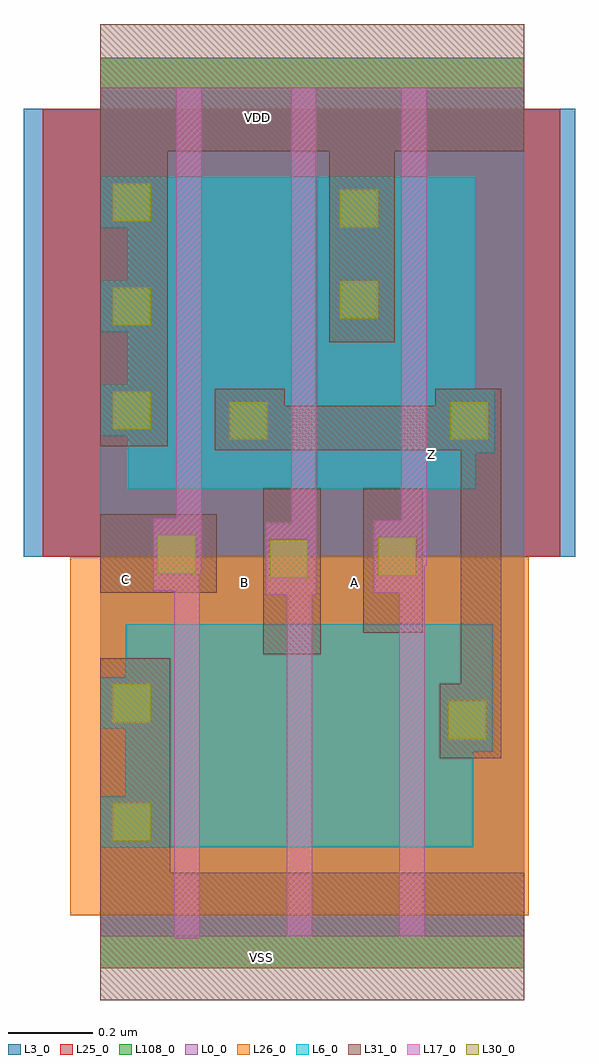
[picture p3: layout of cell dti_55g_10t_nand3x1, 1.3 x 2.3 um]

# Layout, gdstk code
from math import pi, radians
import gdstk
lib = gdstk.Library(unit=1e-6, precision=1e-09)
def R(c, l, rs):  # rectangles x0, y0, x1, y1
    for r in rs: c.add(gdstk.rectangle(r[:2], r[2:], *l))
L0_0 = (0, 0)
L3_0 = (3, 0)
L6_0 = (6, 0)
L17_0 = (17, 0)
L25_0 = (25, 0)
L26_0 = (26, 0)
L30_0 = (30, 0)
L31_0 = (31, 0)
L108_0 = (108, 0)
L923_0 = (923, 0)

template_55g_10t = lib.new_cell('template_55g_10t')
R(template_55g_10t, L31_0, [(0,-0.15,0.2,0.15), (0,1.85,0.2,2.15)])
template_55g_10t.add(gdstk.FlexPath([(0.2,0.21),(0,0.21)], 0, ends="flush", simple_path=True, layer=923, datatype=0))  # L923_0
template_55g_10t.add(gdstk.FlexPath([(0.2,0.735),(0,0.735)], 0, ends="flush", simple_path=True, layer=923, datatype=0))  # L923_0
template_55g_10t.add(gdstk.FlexPath([(0.2,0.895),(0,0.895)], 0, ends="flush", simple_path=True, layer=923, datatype=0))  # L923_0
template_55g_10t.add(gdstk.FlexPath([(0.2,1.055),(0,1.055)], 0, ends="flush", simple_path=True, layer=923, datatype=0))  # L923_0
template_55g_10t.add(gdstk.FlexPath([(0.2,1.79),(0,1.79)], 0, ends="flush", simple_path=True, layer=923, datatype=0))  # L923_0

cellgrid_nom2 = lib.new_cell('cellgrid_noM2')
R(cellgrid_nom2, L0_0, [(0,0,0.2,0.2)])
cellgrid_nom2.add(gdstk.FlexPath([(0.2,0),(0,0.2)], 0, ends="flush", simple_path=True, layer=0, datatype=0))  # L0_0
cellgrid_nom2.add(gdstk.FlexPath([(0.2,0.2),(0,0)], 0, ends="flush", simple_path=True, layer=0, datatype=0))  # L0_0

pmos_735_n_2 = lib.new_cell('pmos_735_n_2')
R(pmos_735_n_2, L3_0, [(-0.275,-0.16,0.335,0.895)])
R(pmos_735_n_2, L6_0, [(-0.115,0,0.175,0.735)])
R(pmos_735_n_2, L17_0, [(0,-0.14,0.06,0.875)])
R(pmos_735_n_2, L25_0, [(-0.245,-0.16,0.305,0.895)])

nmos_525_n_2 = lib.new_cell('nmos_525_n_2')
R(nmos_525_n_2, L6_0, [(-0.115,0,0.175,0.525)])
R(nmos_525_n_2, L17_0, [(0,-0.14,0.06,0.665)])
R(nmos_525_n_2, L26_0, [(-0.245,-0.16,0.305,0.685)])

cnt_n = lib.new_cell('cnt_n')
R(cnt_n, L6_0, [(-0.06,-0.075,0.06,0.075)])
R(cnt_n, L30_0, [(-0.045,-0.045,0.045,0.045)])
R(cnt_n, L31_0, [(-0.045,-0.045,0.045,0.045)])

cnt = lib.new_cell('cnt')
R(cnt, L30_0, [(-0.045,-0.045,0.045,0.045)])
R(cnt, L31_0, [(-0.045,-0.045,0.045,0.045)])

pcnt_v = lib.new_cell('pcnt_v')
R(pcnt_v, L17_0, [(-0.055,-0.085,0.055,0.085)])
pcnt_v.add(gdstk.Reference(cnt, (0,0)))

dti_55g_10t_nand3x1 = lib.new_cell('dti_55g_10t_nand3x1')
R(dti_55g_10t_nand3x1, L3_0, [(-0.18,0.895,1.12,1.95)])
R(dti_55g_10t_nand3x1, L6_0, [(0.88,0.435,0.925,0.735)])
R(dti_55g_10t_nand3x1, L17_0, [(0.175,-0.005,0.235,0.07), (0.44,0,0.5,0.07), (0.705,0,0.765,0.07), (0.425,0.805,0.51,0.915), (0.135,0.855,0.24,0.915), (0.705,0.875,0.77,0.915), (0.18,1.93,0.24,2), (0.45,1.93,0.51,2), (0.71,1.93,0.77,2)])
R(dti_55g_10t_nand3x1, L25_0, [(-0.135,0.895,1.085,1.95)])
R(dti_55g_10t_nand3x1, L31_0, [(0,0.15,0.165,0.655), (0.8,0.42,0.945,0.595), (0.85,0.595,0.945,1.145), (0.385,0.665,0.52,1.055), (0.62,0.715,0.76,1.055), (0,0.81,0.275,0.995), (0.27,1.145,0.435,1.29), (0.435,1.145,0.79,1.25), (0.79,1.145,0.945,1.29), (0,1.155,0.16,1.85), (0.54,1.4,0.695,1.85)])
R(dti_55g_10t_nand3x1, L108_0, [(0,-0.075,1,2.07)])
r = gdstk.Reference(template_55g_10t, (0,0)); r.repetition = gdstk.Repetition(5, 1, v1=(0.2,0), v2=(0,0)); dti_55g_10t_nand3x1.add(r)
r = gdstk.Reference(cellgrid_nom2, (0,0)); r.repetition = gdstk.Repetition(5, 10, v1=(0.2,0), v2=(0,0.2)); dti_55g_10t_nand3x1.add(r)
dti_55g_10t_nand3x1.add(gdstk.Reference(pmos_735_n_2, (0.18,1.055)))
dti_55g_10t_nand3x1.add(gdstk.Reference(pmos_735_n_2, (0.45,1.055)))
dti_55g_10t_nand3x1.add(gdstk.Reference(pmos_735_n_2, (0.71,1.055)))
dti_55g_10t_nand3x1.add(gdstk.Reference(nmos_525_n_2, (0.175,0.21)))
dti_55g_10t_nand3x1.add(gdstk.Reference(nmos_525_n_2, (0.44,0.21)))
dti_55g_10t_nand3x1.add(gdstk.Reference(nmos_525_n_2, (0.705,0.21)))
dti_55g_10t_nand3x1.add(gdstk.Reference(cnt_n, (0.075,1.73), rotation=pi/2))
dti_55g_10t_nand3x1.add(gdstk.Reference(cnt_n, (0.075,1.485), rotation=pi/2))
dti_55g_10t_nand3x1.add(gdstk.Reference(cnt_n, (0.075,1.24), rotation=pi/2))
dti_55g_10t_nand3x1.add(gdstk.Reference(cnt_n, (0.075,0.27), rotation=pi/2))
dti_55g_10t_nand3x1.add(gdstk.Reference(cnt_n, (0.075,0.55), rotation=pi/2))
dti_55g_10t_nand3x1.add(gdstk.Reference(cnt_n, (0.61,1.715)))
dti_55g_10t_nand3x1.add(gdstk.Reference(cnt_n, (0.61,1.5)))
dti_55g_10t_nand3x1.add(gdstk.Reference(cnt_n, (0.35,1.215), rotation=pi))
dti_55g_10t_nand3x1.add(gdstk.Reference(cnt_n, (0.87,1.215), rotation=pi))
dti_55g_10t_nand3x1.add(gdstk.Reference(cnt_n, (0.865,0.51)))
dti_55g_10t_nand3x1.add(gdstk.Reference(pcnt_v, (0.18,0.9), rotation=pi))
dti_55g_10t_nand3x1.add(gdstk.Reference(pcnt_v, (0.445,0.89)))
dti_55g_10t_nand3x1.add(gdstk.Reference(pcnt_v, (0.7,0.895)))
dti_55g_10t_nand3x1.add(gdstk.Label('VDD', (0.37,1.93), layer=131, texttype=0))
dti_55g_10t_nand3x1.add(gdstk.Label('VSS', (0.38,-0.05), layer=131, texttype=0))
dti_55g_10t_nand3x1.add(gdstk.Label('Z', (0.78,1.135), layer=131, texttype=0))
dti_55g_10t_nand3x1.add(gdstk.Label('C', (0.06,0.84), layer=131, texttype=0))
dti_55g_10t_nand3x1.add(gdstk.Label('B', (0.34,0.835), layer=131, texttype=0))
dti_55g_10t_nand3x1.add(gdstk.Label('A', (0.6,0.835), layer=131, texttype=0))

lib.write_gds('dti_55g_10t_nand3x1.gds')
